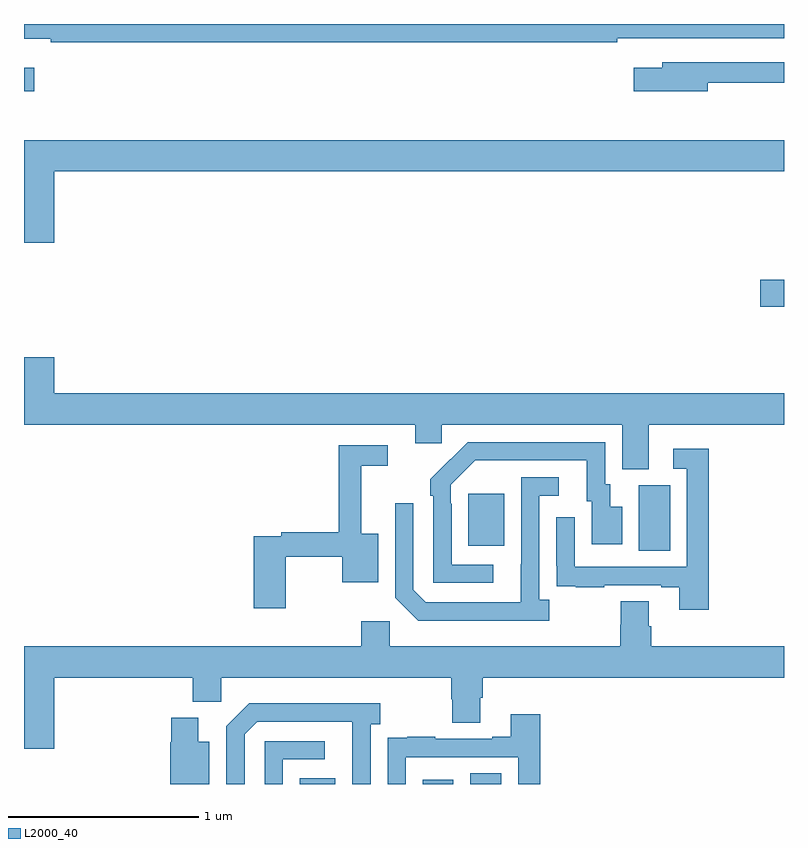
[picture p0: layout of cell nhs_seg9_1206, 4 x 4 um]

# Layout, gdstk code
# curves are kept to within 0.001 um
import gdstk
lib = gdstk.Library(unit=1e-6, precision=1e-09)
def R(c, l, rs):  # rectangles x0, y0, x1, y1
    for r in rs: c.add(gdstk.rectangle(r[:2], r[2:], *l))
def P(c, l, *ps):  # polygons
    for p in ps: c.add(gdstk.Polygon(p, *l))
L2000_40 = (2000, 40)

nhs_seg9_1206 = lib.new_cell('nhs_seg9_1206')
R(nhs_seg9_1206, L2000_40, [(178.451,1222.5,178.639,1222.531), (179.099,1222.5,179.26,1222.522), (179.348,1222.5,179.512,1222.556), (180.236,1223.728,180.4,1224.072), (179.339,1223.753,179.527,1224.028), (180.876,1225.012,181,1225.154), (177,1226.147,177.055,1226.269)])
P(nhs_seg9_1206, L2000_40, [(180.122,1226.424),(181,1226.424),(181,1226.5),(177,1226.5),(177,1226.423),(177.142,1226.423),(177.142,1226.404),(180.122,1226.404)],
  [(180.598,1226.19),(181,1226.19),(181,1226.298),(180.359,1226.298),(180.359,1226.269),(180.21,1226.269),(180.21,1226.147),(180.598,1226.147)],
  [(177.16,1225.724),(181,1225.724),(181,1225.888),(177,1225.888),(177,1225.35),(177.16,1225.35)],
  [(180.289,1224.392),(181,1224.392),(181,1224.556),(177.16,1224.556),(177.16,1224.745),(177,1224.745),(177,1224.392),(179.06,1224.392),(179.06,1224.294),(179.199,1224.294),(179.199,1224.392),(180.149,1224.392),(180.149,1224.157),(180.289,1224.157)],
  [(179.47,1223.655),(179.25,1223.655),(179.25,1223.975),(179.247,1223.975),(179.247,1224.075),(179.376,1224.204),(179.963,1224.204),(179.963,1223.988),(179.987,1223.988),(179.987,1223.763),(180.148,1223.763),(180.148,1223.959),(180.085,1223.959),(180.085,1224.078),(180.06,1224.078),(180.06,1224.3),(179.336,1224.3),(179.139,1224.105),(179.139,1224.017),(179.154,1224.017),(179.154,1223.559),(179.47,1223.559)],
  [(178.378,1223.697),(178.676,1223.697),(178.676,1223.561),(178.864,1223.561),(178.864,1223.818),(178.775,1223.818),(178.775,1224.174),(178.915,1224.174),(178.915,1224.282),(178.657,1224.282),(178.657,1223.825),(178.354,1223.825),(178.354,1223.805),(178.208,1223.805),(178.208,1223.424),(178.378,1223.424)],
  [(180.605,1224.265),(180.417,1224.265),(180.417,1224.159),(180.489,1224.159),(180.489,1223.643),(179.898,1223.643),(179.898,1223.905),(179.802,1223.905),(179.802,1223.65),(179.803,1223.65),(179.803,1223.541),(179.905,1223.541),(179.905,1223.535),(180.053,1223.535),(180.053,1223.547),(180.353,1223.547),(180.353,1223.535),(180.449,1223.535),(180.449,1223.418),(180.605,1223.418)],
  [(179.764,1223.47),(179.712,1223.47),(179.712,1224.018),(179.815,1224.018),(179.815,1224.114),(179.616,1224.114),(179.615,1223.457),(179.115,1223.457),(179.049,1223.523),(179.049,1223.977),(178.953,1223.977),(178.953,1223.481),(179.074,1223.36),(179.764,1223.36)],
  [(180.142,1223.462),(180.142,1223.337),(180.137,1223.337),(180.137,1223.224),(178.926,1223.224),(178.926,1223.356),(178.775,1223.356),(178.775,1223.224),(177,1223.224),(177,1222.686),(177.16,1222.686),(177.16,1223.06),(177.887,1223.06),(177.887,1222.934),(178.038,1222.934),(178.038,1223.06),(179.249,1223.06),(179.249,1222.947),(179.254,1222.947),(179.254,1222.822),(179.401,1222.822),(179.401,1222.954),(179.414,1222.954),(179.414,1223.06),(181,1223.06),(181,1223.224),(180.302,1223.224),(180.302,1223.33),(180.289,1223.33),(180.289,1223.462)],
  [(178.161,1222.761),(178.227,1222.827),(178.727,1222.827),(178.728,1222.5),(178.824,1222.5),(178.824,1222.814),(178.876,1222.814),(178.876,1222.924),(178.186,1222.924),(178.065,1222.803),(178.065,1222.5),(178.161,1222.5)],
  [(179.01,1222.641),(179.601,1222.641),(179.601,1222.5),(179.717,1222.5),(179.717,1222.867),(179.561,1222.867),(179.561,1222.75),(179.465,1222.75),(179.465,1222.737),(179.165,1222.737),(179.165,1222.75),(179.017,1222.75),(179.017,1222.743),(178.915,1222.743),(178.915,1222.634),(178.914,1222.634),(178.914,1222.5),(179.01,1222.5)],
  [(177.976,1222.723),(177.916,1222.723),(177.916,1222.849),(177.776,1222.849),(177.776,1222.719),(177.769,1222.719),(177.769,1222.5),(177.976,1222.5)],
  [(178.362,1222.629),(178.582,1222.629),(178.582,1222.725),(178.266,1222.725),(178.266,1222.5),(178.362,1222.5)])

lib.write_gds('nhs_seg9_1206.gds')
